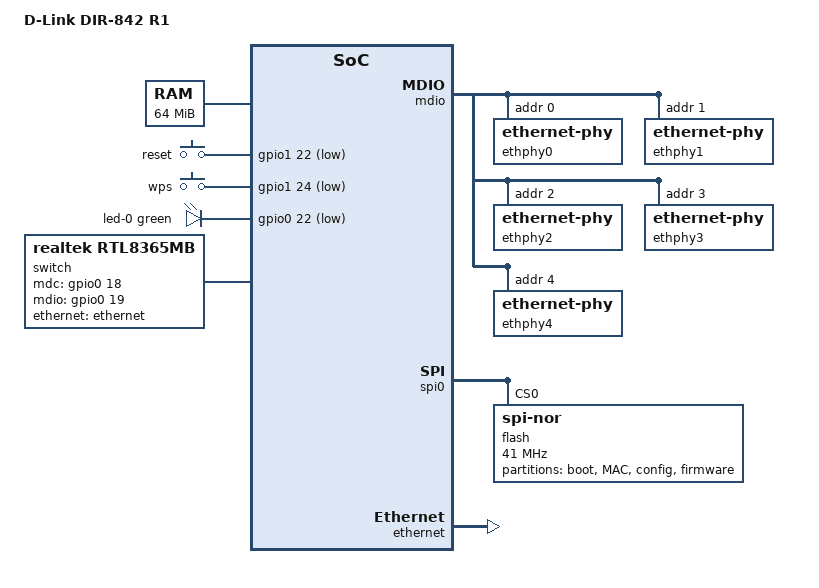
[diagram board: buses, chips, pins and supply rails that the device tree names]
// SPDX-License-Identifier: GPL-2.0
/dts-v1/;

#include "rtl8197f.dtsi"

#include <dt-bindings/gpio/gpio.h>
#include <dt-bindings/input/input.h>
#include <dt-bindings/leds/common.h>

/ {
	compatible = "dlink,dir-842-r1", "realtek,rtl8197f-soc";
	model = "D-Link DIR-842 R1";

	memory@0 {
		device_type = "memory";
		reg = <0x0 0x4000000>;
	};

	/*
	 * Do NOT add a pstore/ramoops carve-out here. An attached ramoops wedges
	 * CPU-originated TX on this board: RX stays healthy while every frame the
	 * box originates is dropped, so it looks alive and is unreachable over
	 * wired LAN. The mechanism is not understood — four correct-looking ways
	 * of doing it were each measured and each still wedged TX — so there is
	 * no "just do it properly" version. See docs/COLD-BOOT-TX-WEDGE.md.
	 */

	chosen {
		bootargs = "console=ttyS0,38400";
		stdout-path = "serial0:38400n8";
	};

	keys {
		compatible = "gpio-keys-polled";
		poll-interval = <20>;

		/* decoded from the stock gpiom.ko dev_buttons table */
		button-reset {
			label = "reset";
			gpios = <&gpio1 22 GPIO_ACTIVE_LOW>;
			linux,code = <KEY_RESTART>;
		};

		button-wps {
			label = "wps";
			gpios = <&gpio1 24 GPIO_ACTIVE_LOW>;
			linux,code = <KEY_WPS_BUTTON>;
		};

		/*
		 * Stock declares a third button "wifi" at gpio1 4. Left out: if
		 * this unit has no such button the pin may float and emit
		 * spurious KEY_RFKILL, toggling the radio at random.
		 */
	};

	/*
	 * The only software-controllable LED on this board. LAN/WAN/Internet are
	 * driven by the switch's own link/activity indication, and the power LED
	 * has no GPIO at all.
	 *
	 * gpio0 22, not gpio1 25: the latter sits one pin from gpio1 26, the
	 * RTL8367S hardware reset, and writing it held the switch in reset —
	 * which is what "LEDs break the switch" used to mean here.
	 */
	leds {
		compatible = "gpio-leds";

		led-0 {
			function = LED_FUNCTION_WPS;
			color = <LED_COLOR_ID_GREEN>;
			gpios = <&gpio0 22 GPIO_ACTIVE_LOW>;
		};
	};

	/*
	 * External RTL8367S, managed over bit-banged SMI. The chip identifies as
	 * 0x6367/0x0020, which the driver knows as RTL8367RB-VB.
	 *
	 * No reset-gpios: the bootloader has already trained the RGMII trunk and
	 * the driver performs its own register-triggered reset at probe, so
	 * pulsing the reset line as well only adds a way to lose that training.
	 */
	switch {
		compatible = "realtek,rtl8365mb";

		mdc-gpios = <&gpio0 18 GPIO_ACTIVE_HIGH>;
		mdio-gpios = <&gpio0 19 GPIO_ACTIVE_HIGH>;

		/* the SoC MAC inserts and strips the short form of the CPU tag */
		realtek,cpu-tag-4byte;

		/*
		 * The management lines on this board need far longer to settle
		 * than the driver's default. 1500ns is the value the vendor
		 * driver used here; at the default the transactions are
		 * marginal and fail in bursts under load.
		 */
		realtek,clk-delay-ns = <1500>;

		mdio {
			compatible = "realtek,smi-mdio";
			#address-cells = <1>;
			#size-cells = <0>;

			ethphy0: ethernet-phy@0 { reg = <0>; };
			ethphy1: ethernet-phy@1 { reg = <1>; };
			ethphy2: ethernet-phy@2 { reg = <2>; };
			ethphy3: ethernet-phy@3 { reg = <3>; };
			ethphy4: ethernet-phy@4 { reg = <4>; };
		};

		ports {
			#address-cells = <1>;
			#size-cells = <0>;

			/* panel order runs the other way: LAN1 is the highest port */
			port@0 { reg = <0>; label = "lan4"; phy-handle = <&ethphy0>; };
			port@1 { reg = <1>; label = "lan3"; phy-handle = <&ethphy1>; };
			port@2 { reg = <2>; label = "lan2"; phy-handle = <&ethphy2>; };
			port@3 { reg = <3>; label = "lan1"; phy-handle = <&ethphy3>; };
			port@4 { reg = <4>; label = "wan";  phy-handle = <&ethphy4>; };

			port@6 {
				reg = <6>;
				label = "cpu";
				ethernet = <&ethernet>;
				phy-mode = "rgmii";
				/* loader-trained values, read back from reg 0x1307 */
				tx-internal-delay-ps = <0>;
				rx-internal-delay-ps = <600>;

				/*
				 * No "pause": 802.3x on this trunk feeds back into the
				 * descriptor pool and stalls the datapath under load.
				 */
				fixed-link {
					speed = <1000>;
					full-duplex;
				};
			};
		};
	};
};

&gpio0 {
	status = "okay";
};

&gpio1 {
	status = "okay";
};

&spi0 {
	status = "okay";

	flash@0 {
		compatible = "jedec,spi-nor";
		reg = <0>;
		spi-max-frequency = <41000000>;

		partitions {
			compatible = "fixed-partitions";
			#address-cells = <1>;
			#size-cells = <1>;

			partition@0 {
				label = "boot";
				reg = <0x0 0x20000>;
				read-only;
			};

			/* per-unit MAC (ASCII at offset 0) and RF calibration */
			partition@20000 {
				label = "MAC";
				reg = <0x20000 0x10000>;
				read-only;
			};

			partition@30000 {
				label = "config";
				reg = <0x30000 0x10000>;
			};

			partition@40000 {
				compatible = "realtek,cvimg";
				label = "firmware";
				reg = <0x40000 0x7b0000>;
			};
		};
	};
};

&ethernet {
	status = "okay";
};

/*
 * Enabled per bring-up milestone as each driver lands:
 *   &pcie0 -> the RTL8822BE 5 GHz radio
 *   &wmac  -> the on-SoC 2.4 GHz radio
 */
